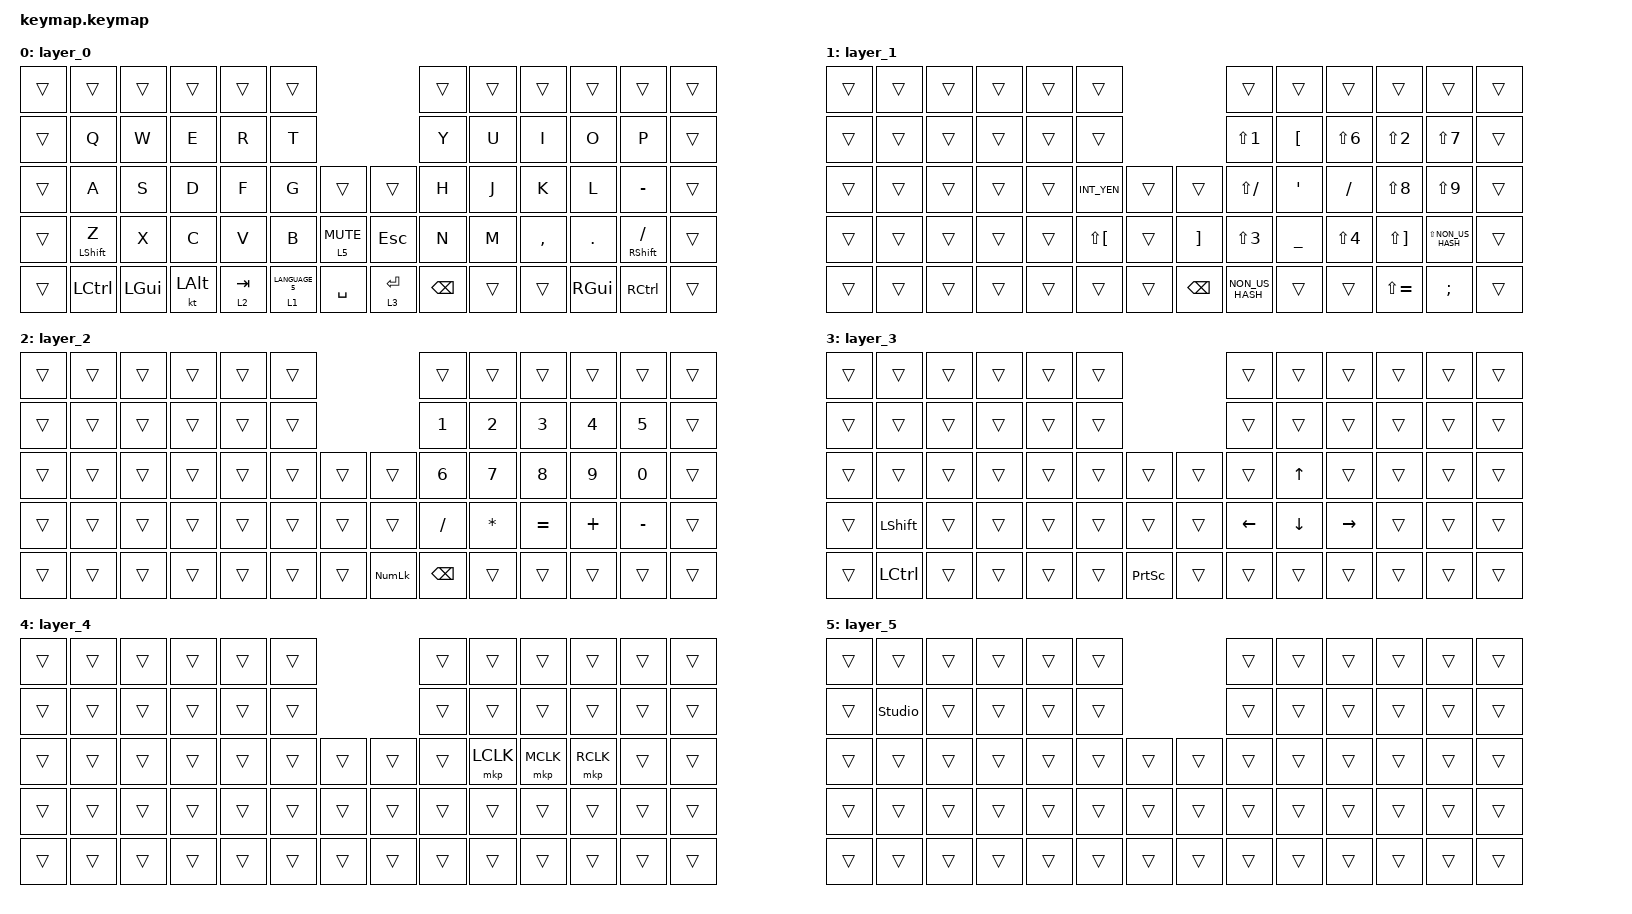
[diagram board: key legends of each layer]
#include <behaviors.dtsi>
#include <dt-bindings/zmk/bt.h>
#include <dt-bindings/zmk/keys.h>
#include <dt-bindings/zmk/pointing.h>

&mt {
    flavor = "balanced";
};

/ {
    combos {
        compatible = "zmk,combos";

        bt_clear {
            bindings = <&bt BT_CLR>;
            key-positions = <28 29>;
            layers = <2>;
        };
    };

    keymap {
        compatible = "zmk,keymap";

        layer_0 {
            bindings = <
&trans  &trans            &trans        &trans        &trans     &trans                                       &trans         &trans  &trans     &trans         &trans                &trans
&trans  &kp Q             &kp W         &kp E         &kp R      &kp T                                        &kp Y          &kp U   &kp I      &kp O          &kp P                 &trans
&trans  &kp A             &kp S         &kp D         &kp F      &kp G             &trans        &trans       &kp H          &kp J   &kp K      &kp L          &kp MINUS             &trans
&trans  &mt LEFT_SHIFT Z  &kp X         &kp C         &kp V      &kp B             &lt 5 C_MUTE  &kp ESCAPE   &kp N          &kp M   &kp COMMA  &kp DOT        &mt RIGHT_SHIFT FSLH  &trans
&trans  &kp LCTRL         &kp LEFT_GUI  &kt LEFT_ALT  &lt 2 TAB    &lt 1 LANGUAGE_5    &kp SPACE     &lt 3 ENTER    &kp BACKSPACE  &trans  &trans     &kp RIGHT_GUI  &kp RCTRL             &trans
            >;
        };

        layer_1 {
            bindings = <
&trans  &trans  &trans  &trans  &trans  &trans                                           &trans            &trans            &trans            &trans                 &trans               &trans
&trans  &trans  &trans  &trans  &trans  &trans                                           &kp LS(NUMBER_1)  &kp LEFT_BRACKET  &kp LS(NUMBER_6)  &kp LS(NUMBER_2)       &kp LS(N7)           &trans
&trans  &trans  &trans  &trans  &trans  &kp INT_YEN           &trans  &trans             &kp LS(SLASH)     &kp SINGLE_QUOTE  &kp SLASH         &kp LS(N8)             &kp LS(N9)           &trans
&trans  &trans  &trans  &trans  &trans  &kp LS(LEFT_BRACKET)  &trans  &kp RIGHT_BRACKET  &kp LS(NUMBER_3)  &kp UNDER         &kp LS(NUMBER_4)  &kp LS(RIGHT_BRACKET)  &kp LS(NON_US_HASH)  &trans
&trans  &trans  &trans  &trans  &trans  &trans                &trans  &kp BACKSPACE      &kp NON_US_HASH   &trans            &trans            &kp LS(EQUAL)          &kp SEMICOLON        &trans
            >;
        };

        layer_2 {
            bindings = <
&trans  &trans  &trans  &trans  &trans  &trans                          &trans         &trans        &trans        &trans        &trans        &trans
&trans  &trans  &trans  &trans  &trans  &trans                          &kp NUMBER_1   &kp NUMBER_2  &kp NUMBER_3  &kp NUMBER_4  &kp NUMBER_5  &trans
&trans  &trans  &trans  &trans  &trans  &trans  &trans  &trans          &kp NUMBER_6   &kp NUMBER_7  &kp NUMBER_8  &kp NUMBER_9  &kp NUMBER_0  &trans
&trans  &trans  &trans  &trans  &trans  &trans  &trans  &trans          &kp SLASH      &kp STAR      &kp EQUAL     &kp PLUS      &kp MINUS     &trans
&trans  &trans  &trans  &trans  &trans  &trans  &trans  &kp KP_NUMLOCK  &kp BACKSPACE  &trans        &trans        &trans        &trans        &trans
            >;
        };

        layer_3 {
            bindings = <
&trans  &trans            &trans  &trans  &trans  &trans                           &trans          &trans          &trans           &trans  &trans  &trans
&trans  &trans            &trans  &trans  &trans  &trans                           &trans          &trans          &trans           &trans  &trans  &trans
&trans  &trans            &trans  &trans  &trans  &trans  &trans           &trans  &trans          &kp UP_ARROW    &trans           &trans  &trans  &trans
&trans  &kp LEFT_SHIFT    &trans  &trans  &trans  &trans  &trans           &trans  &kp LEFT_ARROW  &kp DOWN_ARROW  &kp RIGHT_ARROW  &trans  &trans  &trans
&trans  &kp LEFT_CONTROL  &trans  &trans  &trans  &trans  &kp PRINTSCREEN  &trans  &trans          &trans          &trans           &trans  &trans  &trans
            >;
        };

        layer_4 {
            bindings = <
&trans  &trans  &trans  &trans  &trans  &trans                  &trans  &trans     &trans     &trans     &trans  &trans
&trans  &trans  &trans  &trans  &trans  &trans                  &trans  &trans     &trans     &trans     &trans  &trans
&trans  &trans  &trans  &trans  &trans  &trans  &trans  &trans  &trans  &mkp LCLK  &mkp MCLK  &mkp RCLK  &trans  &trans
&trans  &trans  &trans  &trans  &trans  &trans  &trans  &trans  &trans  &trans     &trans     &trans     &trans  &trans
&trans  &trans  &trans  &trans  &trans  &trans  &trans  &trans  &trans  &trans     &trans     &trans     &trans  &trans
            >;
        };

        layer_5 {
            bindings = <
&trans  &trans  &trans  &trans  &trans  &trans  &trans  &trans  &trans  &trans  &trans  &trans
&trans  &studio_unlock  &trans  &trans  &trans  &trans  &trans  &trans  &trans  &trans  &trans  &trans
&trans  &trans  &trans  &trans  &trans  &trans  &trans  &trans  &trans  &trans  &trans  &trans  &trans  &trans
&trans  &trans  &trans  &trans  &trans  &trans  &trans  &trans  &trans  &trans  &trans  &trans  &trans  &trans
&trans  &trans  &trans  &trans  &trans  &trans  &trans  &trans  &trans  &trans  &trans  &trans  &trans  &trans
            >;
        };

        studio_extra_1 {
            status = "reserved";
        };

        studio_extra_2 {
            status = "reserved";
        };

        studio_extra_3 {
            status = "reserved";
        };

        studio_extra_4 {
            status = "reserved";
        };
    };
};
